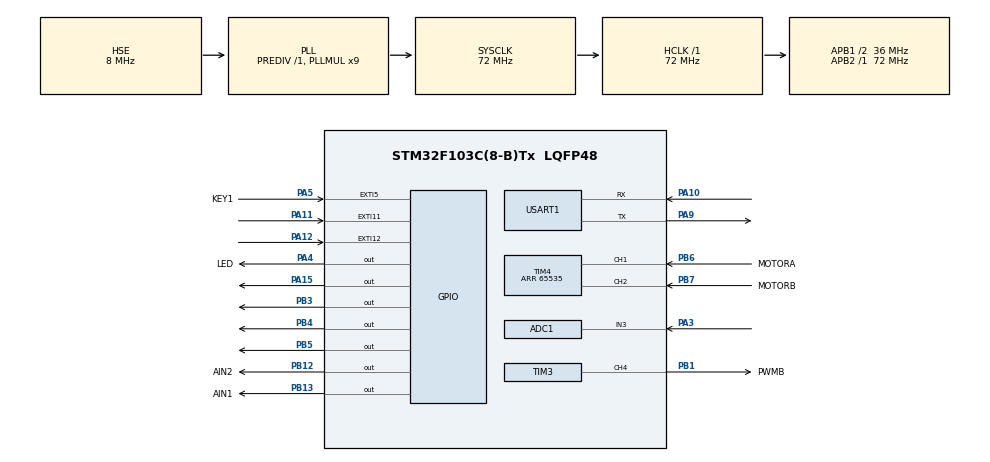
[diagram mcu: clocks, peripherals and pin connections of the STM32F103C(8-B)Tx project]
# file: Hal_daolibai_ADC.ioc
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ADC1.Channel-0\#ChannelRegularConversion=ADC_CHANNEL_3
ADC1.ContinuousConvMode=ENABLE
ADC1.DataAlign=ADC_DATAALIGN_RIGHT
ADC1.DiscontinuousConvMode=DISABLE
ADC1.EnableAnalogWatchDog=false
ADC1.EnableRegularConversion=ENABLE
ADC1.ExternalTrigConv=ADC_SOFTWARE_START
ADC1.InjNumberOfConversion=0
ADC1.NbrOfConversion=1
ADC1.NbrOfConversionFlag=1
ADC1.Rank-0\#ChannelRegularConversion=1
ADC1.SamplingTime-0\#ChannelRegularConversion=ADC_SAMPLETIME_55CYCLES_5
ADC1.ScanConvMode=ADC_SCAN_DISABLE
ADC1.master=1
Mcu.Family=STM32F1
Mcu.Name=STM32F103C(8-B)Tx
Mcu.Package=LQFP48
NVIC.ADC1_2_IRQn=true\:2\:0\:true\:false\:true\:true
NVIC.EXTI15_10_IRQn=true\:1\:0\:true\:false\:true\:true
NVIC.EXTI9_5_IRQn=true\:1\:0\:true\:false\:true\:true
NVIC.PriorityGroup=NVIC_PRIORITYGROUP_4
NVIC.TIM1_UP_IRQn=true\:1\:0\:true\:false\:true\:true
PA10.Mode=Asynchronous
PA10.Signal=USART1_RX
PA11.GPIO_ModeDefaultEXTI=GPIO_MODE_IT_FALLING
PA11.GPIO_PuPd=GPIO_PULLUP
PA11.Signal=GPXTI11
PA12.GPIO_ModeDefaultEXTI=GPIO_MODE_IT_FALLING
PA12.GPIO_PuPd=GPIO_PULLUP
PA12.Signal=GPXTI12
PA13.Mode=Serial_Wire
PA13.Signal=SYS_JTMS-SWDIO
PA14.Mode=Serial_Wire
PA14.Signal=SYS_JTCK-SWCLK
PA15.GPIO_Speed=GPIO_SPEED_FREQ_HIGH
PA15.Signal=GPIO_Output
PA3.Signal=ADCx_IN3
PA4.GPIO_Label=LED
PA4.GPIO_PuPd=GPIO_NOPULL
PA4.GPIO_Speed=GPIO_SPEED_FREQ_LOW
PA4.PinState=GPIO_PIN_SET
PA4.Signal=GPIO_Output
PA5.GPIO_Label=KEY1
PA5.GPIO_ModeDefaultEXTI=GPIO_MODE_IT_FALLING
PA5.GPIO_PuPd=GPIO_PULLUP
PA5.Signal=GPXTI5
PA9.Mode=Asynchronous
PA9.Signal=USART1_TX
PB1.GPIO_Label=PWMB
PB1.GPIO_Speed=GPIO_SPEED_FREQ_MEDIUM
PB1.Signal=S_TIM3_CH4
PB12.GPIO_Label=AIN2
PB12.GPIO_Speed=GPIO_SPEED_FREQ_LOW
PB12.Signal=GPIO_Output
PB13.GPIO_Label=AIN1
PB13.GPIO_Speed=GPIO_SPEED_FREQ_LOW
PB13.Signal=GPIO_Output
PB3.GPIO_Speed=GPIO_SPEED_FREQ_HIGH
PB3.Signal=GPIO_Output
PB4.GPIO_Speed=GPIO_SPEED_FREQ_HIGH
PB4.Signal=GPIO_Output
PB5.Signal=GPIO_Output
PB6.GPIO_Label=MOTORA
PB6.Signal=S_TIM4_CH1
PB7.GPIO_Label=MOTORB
PB7.Signal=S_TIM4_CH2
PD0-OSC_IN.Mode=HSE-External-Oscillator
PD0-OSC_IN.Signal=RCC_OSC_IN
PD1-OSC_OUT.Mode=HSE-External-Oscillator
PD1-OSC_OUT.Signal=RCC_OSC_OUT
ProjectManager.HeapSize=0x200
ProjectManager.StackSize=0x400
ProjectManager.TargetToolchain=MDK-ARM V5
RCC.ADCPresc=RCC_ADCPCLK2_DIV6
RCC.AHBFreq_Value=72000000
RCC.APB1CLKDivider=RCC_HCLK_DIV2
RCC.APB1Freq_Value=36000000
RCC.APB1TimFreq_Value=72000000
RCC.APB2Freq_Value=72000000
RCC.APB2TimFreq_Value=72000000
RCC.HCLKFreq_Value=72000000
RCC.PLLMUL=RCC_PLL_MUL9
RCC.PLLSourceVirtual=RCC_PLLSOURCE_HSE
RCC.SYSCLKFreq_VALUE=72000000
RCC.SYSCLKSource=RCC_SYSCLKSOURCE_PLLCLK
RCC.USBFreq_Value=72000000
SH.ADCx_IN3.0=ADC1_IN3,IN3
SH.S_TIM3_CH4.0=TIM3_CH4,PWM Generation4 CH4
SH.S_TIM4_CH1.0=TIM4_CH1,Encoder_Interface
SH.S_TIM4_CH2.0=TIM4_CH2,Encoder_Interface
TIM1.AutoReloadPreload=TIM_AUTORELOAD_PRELOAD_DISABLE
TIM1.Period=1000
TIM1.Prescaler=71
TIM1.RepetitionCounter=0
TIM3.Channel-PWM\ Generation4\ CH4=TIM_CHANNEL_4
TIM3.Period=100
TIM3.Prescaler=1
TIM4.EncoderMode=TIM_ENCODERMODE_TI12
TIM4.IC1Filter=6
TIM4.IC2Filter=6
TIM4.Period=65535
USART1.VirtualMode=VM_ASYNC
VP_TIM1_VS_ClockSourceINT.Mode=Internal
VP_TIM3_VS_ClockSourceINT.Mode=Internal
board=custom

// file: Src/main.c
/**
  ******************************************************************************
  * @file           : main.c
  * @brief          : Main program body
  ******************************************************************************
  ** This notice applies to any and all portions of this file
  * that are not between comment pairs USER CODE BEGIN and
  * USER CODE END. Other portions of this file, whether
  * inserted by the user or by software development tools
  * are owned by their respective copyright owners.
  *
  * COPYRIGHT(c) 2019 STMicroelectronics
  *
  * Redistribution and use in source and binary forms, with or without modification,
  * are permitted provided that the following conditions are met:
  *   1. Redistributions of source code must retain the above copyright notice,
  *      this list of conditions and the following disclaimer.
  *   2. Redistributions in binary form must reproduce the above copyright notice,
  *      this list of conditions and the following disclaimer in the documentation
  *      and/or other materials provided with the distribution.
  *   3. Neither the name of STMicroelectronics nor the names of its contributors
  *      may be used to endorse or promote products derived from this software
  *      without specific prior written permission.
  *
  * THIS SOFTWARE IS PROVIDED BY THE COPYRIGHT HOLDERS AND CONTRIBUTORS "AS IS"
  * AND ANY EXPRESS OR IMPLIED WARRANTIES, INCLUDING, BUT NOT LIMITED TO, THE
  * IMPLIED WARRANTIES OF MERCHANTABILITY AND FITNESS FOR A PARTICULAR PURPOSE ARE
  * DISCLAIMED. IN NO EVENT SHALL THE COPYRIGHT HOLDER OR CONTRIBUTORS BE LIABLE
  * FOR ANY DIRECT, INDIRECT, INCIDENTAL, SPECIAL, EXEMPLARY, OR CONSEQUENTIAL
  * DAMAGES (INCLUDING, BUT NOT LIMITED TO, PROCUREMENT OF SUBSTITUTE GOODS OR
  * SERVICES; LOSS OF USE, DATA, OR PROFITS; OR BUSINESS INTERRUPTION) HOWEVER
  * CAUSED AND ON ANY THEORY OF LIABILITY, WHETHER IN CONTRACT, STRICT LIABILITY,
  * OR TORT (INCLUDING NEGLIGENCE OR OTHERWISE) ARISING IN ANY WAY OUT OF THE USE
  * OF THIS SOFTWARE, EVEN IF ADVISED OF THE POSSIBILITY OF SUCH DAMAGE.
  *
  ******************************************************************************
  */
#include "main.h"
#include "stm32f1xx_hal.h"
#include "adc.h"
#include "tim.h"
#include "usart.h"
#include "gpio.h"

/* USER CODE BEGIN Includes */
#include "led.h"
#include "encoder.h"
#include "motor.h"
#include "control.h"
#include "adc.h"
#include "timer.h"
#include "tim.h"
#include "key.h"
#include "oled.h"
#include "show.h"

#include "stdio.h"
#ifdef __GNUC__
#define PUTCHAR_PROTOTYPE int __io_putchar(int ch)
#else
#define PUTCHAR_PROTOTYPE int fputc(int ch, FILE *f)
#endif /* __GNUC__ */
PUTCHAR_PROTOTYPE
{
	HAL_UART_Transmit(&huart1 , (uint8_t *)&ch, 1, 0xFFFF);
	return ch;
}

/* USER CODE END Includes */

/* USER CODE BEGIN PV */
/* Private variables ---------------------------------------------------------*/

__IO float ADC_ConvertedValueLocal=0;			// 用于保存转换计算后的电压值
__IO int Angle_Balance=0;
__IO int Encoder_Balance=0;
__IO int Balance_Pwm=0;
__IO int Position_Pwm=0;
__IO int Position_Zero=10000;            //编码器的脉冲计数
__IO int Flag_Target=0;
__IO int Position_Target=0;
__IO int Moto=0;
__IO int Para1=0;
__IO int Para2=0;
__IO int Error_temp=0;
__IO int Error_Target=0;
__IO uint8_t Flag_Stop=1;
__IO uint8_t Position_Key=0;
__IO uint16_t ADC_ConvertedValue=0;			// AD转换结果值
__IO uint16_t timer_count=0;
__IO uint16_t timer_count2=0;
__IO uint16_t Times_up=0;

/* USER CODE END PV */

void SystemClock_Config(void);

/* USER CODE BEGIN PFP */
/* Private function prototypes -----------------------------------------------*/

/* USER CODE END PFP */

int main(void)
{

  /* MCU Configuration----------------------------------------------------------*/

  /* Reset of all peripherals, Initializes the Flash interface and the Systick. */
  HAL_Init();

  /* Configure the system clock */
  SystemClock_Config();

  /* Initialize all configured peripherals */
  MX_GPIO_Init();
  MX_USART1_UART_Init();
  MX_ADC1_Init();
  MX_TIM1_Init();
  MX_TIM4_Init();
  MX_TIM3_Init();
  /* USER CODE BEGIN 2 */
	Motor_Init();													//====电机初始化
	OLED_Init();   				                //=====OLED初始化
	HAL_TIM_Base_Start_IT(&htim1);				//====定时器初始化
	HAL_TIM_Base_Start_IT(&htim4);
	HAL_TIM_Base_Start_IT(&htim3);
	HAL_TIM_Encoder_Start(&htim4,TIM_CHANNEL_ALL);
	PID_Init(&Motor_AnglePID, Angle_KP, Angle_KI,Angle_KD);					//====PID初始化
	PID_Init(&Motor_PostionPID, Position_KP, Position_KI,Position_KD);
	printf("----这是一个ADC单通道电压采集+按键中断+定时器1 实验-----\n");
  /* USER CODE END 2 */

  /* Infinite loop */
  /* USER CODE BEGIN WHILE */
	PID_SetPoint(&Motor_AnglePID,ZHONGZHI);											//====外环PID初始化

  while (1)
  {

  /* USER CODE END WHILE */

  /* USER CODE BEGIN 3 */
//		printf("			PWM当前值为：   %d\r\n",Moto);
		oled_show();
  }
  /* USER CODE END 3 */

}

void SystemClock_Config(void)
{

  RCC_OscInitTypeDef RCC_OscInitStruct;
  RCC_ClkInitTypeDef RCC_ClkInitStruct;
  RCC_PeriphCLKInitTypeDef PeriphClkInit;

    /**Initializes the CPU, AHB and APB busses clocks
    */
  RCC_OscInitStruct.OscillatorType = RCC_OSCILLATORTYPE_HSE;
  RCC_OscInitStruct.HSEState = RCC_HSE_ON;
  RCC_OscInitStruct.HSEPredivValue = RCC_HSE_PREDIV_DIV1;
  RCC_OscInitStruct.HSIState = RCC_HSI_ON;
  RCC_OscInitStruct.PLL.PLLState = RCC_PLL_ON;
  RCC_OscInitStruct.PLL.PLLSource = RCC_PLLSOURCE_HSE;
  RCC_OscInitStruct.PLL.PLLMUL = RCC_PLL_MUL9;
  if (HAL_RCC_OscConfig(&RCC_OscInitStruct) != HAL_OK)
  {
    _Error_Handler(__FILE__, __LINE__);
  }

    /**Initializes the CPU, AHB and APB busses clocks
    */
  RCC_ClkInitStruct.ClockType = RCC_CLOCKTYPE_HCLK|RCC_CLOCKTYPE_SYSCLK
                              |RCC_CLOCKTYPE_PCLK1|RCC_CLOCKTYPE_PCLK2;
  RCC_ClkInitStruct.SYSCLKSource = RCC_SYSCLKSOURCE_PLLCLK;
  RCC_ClkInitStruct.AHBCLKDivider = RCC_SYSCLK_DIV1;
  RCC_ClkInitStruct.APB1CLKDivider = RCC_HCLK_DIV2;
  RCC_ClkInitStruct.APB2CLKDivider = RCC_HCLK_DIV1;

  if (HAL_RCC_ClockConfig(&RCC_ClkInitStruct, FLASH_LATENCY_2) != HAL_OK)
  {
    _Error_Handler(__FILE__, __LINE__);
  }

  PeriphClkInit.PeriphClockSelection = RCC_PERIPHCLK_ADC;
  PeriphClkInit.AdcClockSelection = RCC_ADCPCLK2_DIV6;
  if (HAL_RCCEx_PeriphCLKConfig(&PeriphClkInit) != HAL_OK)
  {
    _Error_Handler(__FILE__, __LINE__);
  }

    /**Configure the Systick interrupt time
    */
  HAL_SYSTICK_Config(HAL_RCC_GetHCLKFreq()/1000);

    /**Configure the Systick
    */
  HAL_SYSTICK_CLKSourceConfig(SYSTICK_CLKSOURCE_HCLK);

  /* SysTick_IRQn interrupt configuration */
  HAL_NVIC_SetPriority(SysTick_IRQn, 0, 0);
}

/* USER CODE BEGIN 4 */

///**
//  * 函数功能: AD转换结束回调函数
//  * 输入参数: hadc：AD设备类型句柄
//  * 返 回 值: 无
//  * 说    明: 无
//  */
//void HAL_ADC_ConvCpltCallback(ADC_HandleTypeDef* hadc)
//{
//  ADC_ConvertedValue=HAL_ADC_GetValue(&hadc1);
//}

/* USER CODE END 4 */

void _Error_Handler(char *file, int line)
{
  while(1)
  {
  }
}

/************************ (C) COPYRIGHT STMicroelectronics *****END OF FILE****/
